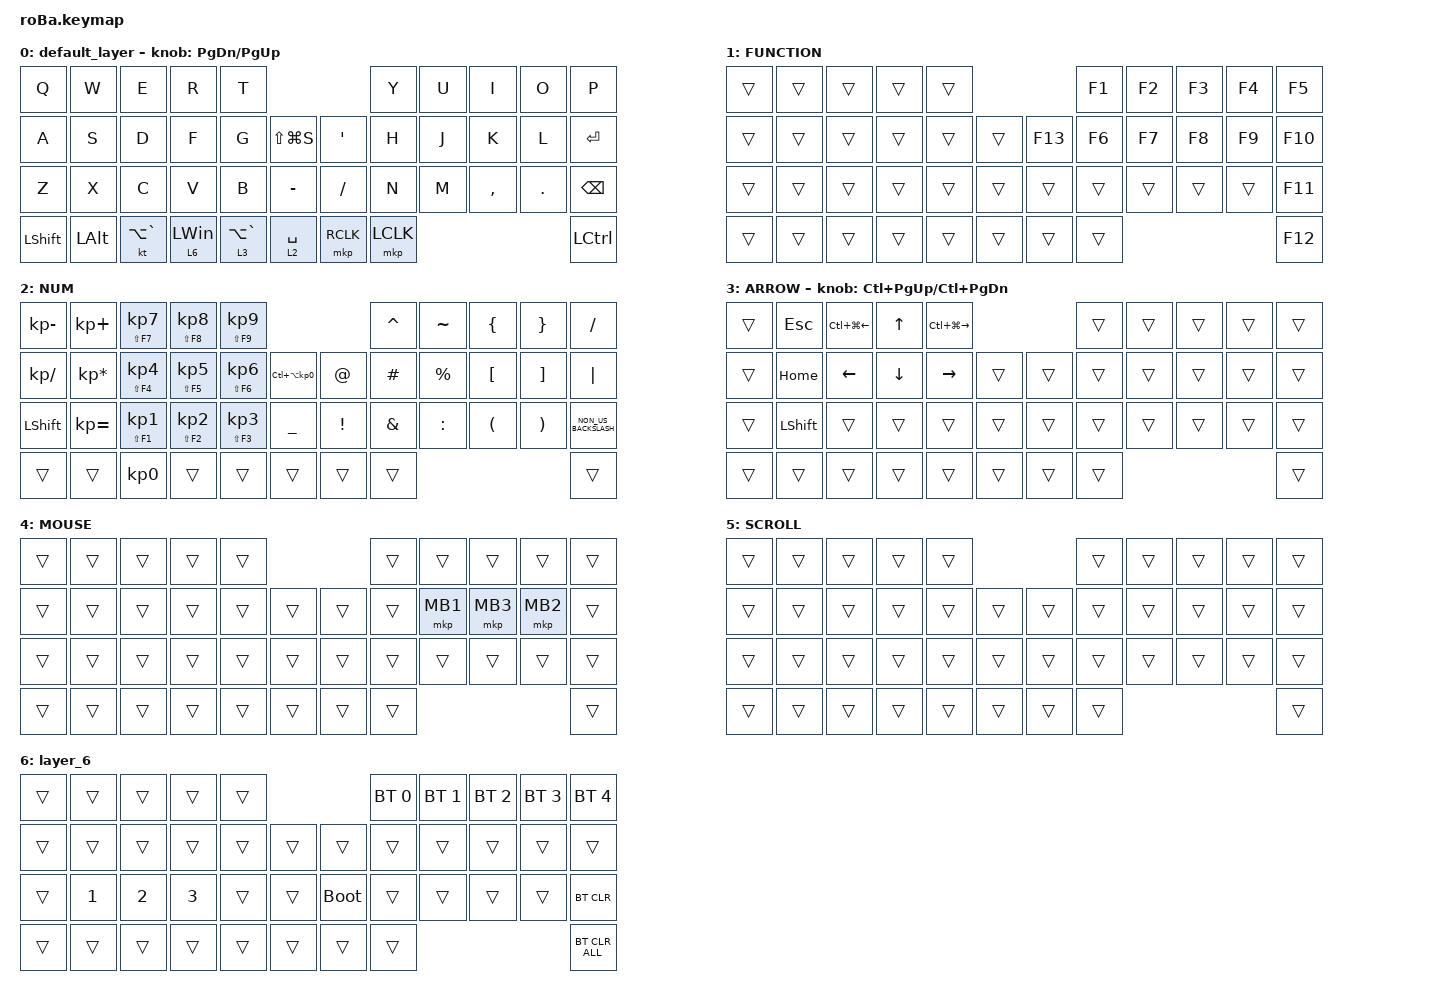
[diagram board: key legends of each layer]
#include <behaviors.dtsi>
#include <dt-bindings/zmk/bt.h>
#include <dt-bindings/zmk/keys.h>
#include <dt-bindings/zmk/pointing.h>

&mt {
    flavor = "balanced";
    quick-tap-ms = <0>;
};

&trackball {
    automouse-layer = <4>;
    scroll-layers = <5>;

    // arrows {
    //     layers = <3>;
    //     bindings =
    //         <&kp RIGHT_ARROW>,
    //         <&kp LEFT_ARROW>,
    //         <&kp UP_ARROW>,
    //         <&kp DOWN_ARROW>;
    //     tick = <10>;
    //     wait-ms = <5>;
    //     tap-ms = <5>;
    // };
};

/ {
    combos {
        compatible = "zmk,combos";

        tab {
            bindings = <&kp TAB>;
            key-positions = <11 12>;
        };

        shift_tab {
            bindings = <&kp LS(TAB)>;
            key-positions = <12 13>;
        };

        muhennkann {
            bindings = <&to_layer_0 INT_MUHENKAN>;
            key-positions = <11 10>;
        };

        double_quotation {
            bindings = <&kp DOUBLE_QUOTES>;
            key-positions = <20 21>;
        };

        eq {
            bindings = <&kp EQUAL>;
            key-positions = <24 25>;
        };
    };

    macros {
        to_layer_0: to_layer_0 {
            compatible = "zmk,behavior-macro-one-param";
            #binding-cells = <1>;
            bindings = <&to 0 &macro_param_1to1 &kp MACRO_PLACEHOLDER>;
            label = "TO_LAYER_0";
        };
    };

    behaviors {
        lt_to_layer_0: lt_to_layer_0 {
            compatible = "zmk,behavior-hold-tap";
            label = "LAYER_TAP_TO_0";
            bindings = <&mo>, <&to_layer_0>;

            #binding-cells = <2>;
            tapping-term-ms = <200>;
        };
    };

    keymap {
        compatible = "zmk,keymap";

        default_layer {
            bindings = <
&kp Q           &kp W         &kp E          &kp R           &kp T                                          &kp Y      &kp U  &kp I      &kp O    &kp P
&kp A           &kp S         &kp D          &kp F           &kp G            &kp LS(LG(S))      &kp SQT    &kp H      &kp J  &kp K      &kp L    &kp ENTER
&kp Z           &kp X         &kp C          &kp V           &kp B            &kp MINUS          &kp SLASH  &kp N      &kp M  &kp COMMA  &kp DOT  &kp BACKSPACE
&kp LEFT_SHIFT  &kp LEFT_ALT  &kt LA(GRAVE)  &lt 6 LEFT_WIN  &lt 3 LA(GRAVE)  &lt 2 SPACE        &mkp RCLK  &mkp LCLK                             &kp LEFT_CONTROL
            >;

            sensor-bindings = <&inc_dec_kp PAGE_DOWN PAGE_UP>;
        };

        FUNCTION {
            bindings = <
&trans  &trans  &trans  &trans  &trans                       &kp F1  &kp F2  &kp F3  &kp F4  &kp F5
&trans  &trans  &trans  &trans  &trans  &trans      &kp F13  &kp F6  &kp F7  &kp F8  &kp F9  &kp F10
&trans  &trans  &trans  &trans  &trans  &trans      &trans   &trans  &trans  &trans  &trans  &kp F11
&trans  &trans  &trans  &trans  &trans  &trans      &trans   &trans                          &kp F12
            >;
        };

        NUM {
            bindings = <
&kp KP_MINUS    &kp KP_PLUS      &mt LS(F7) KP_NUMBER_7  &mt LS(F8) KP_NUMBER_8  &mt LS(F9) KP_NUMBER_9                                                &kp CARET      &kp TILDE    &kp LEFT_BRACE        &kp RIGHT_BRACE        &kp SLASH
&kp KP_SLASH    &kp KP_ASTERISK  &mt LS(F4) KP_NUMBER_4  &mt LS(F5) KP_NUMBER_5  &mt LS(F6) KP_NUMBER_6  &kp LC(LA(KP_NUMBER_0))      &kp AT_SIGN      &kp HASH       &kp PERCENT  &kp LEFT_BRACKET      &kp RIGHT_BRACKET      &kp PIPE
&kp LEFT_SHIFT  &kp KP_EQUAL     &mt LS(F1) KP_NUMBER_1  &mt LS(F2) KP_NUMBER_2  &mt LS(F3) KP_NUMBER_3  &kp UNDERSCORE               &kp EXCLAMATION  &kp AMPERSAND  &kp COLON    &kp LEFT_PARENTHESIS  &kp RIGHT_PARENTHESIS  &kp NON_US_BACKSLASH
&trans          &trans           &kp KP_NUMBER_0         &trans                  &trans                  &trans                       &trans           &trans                                                                   &trans
            >;
        };

        ARROW {
            bindings = <
&trans  &kp ESC         &kp LC(LG(LEFT))  &kp UP_ARROW  &kp LC(LG(RIGHT))                      &trans  &trans  &trans  &trans  &trans
&trans  &kp HOME        &kp LEFT          &kp DOWN      &kp RIGHT          &trans      &trans  &trans  &trans  &trans  &trans  &trans
&trans  &kp LEFT_SHIFT  &trans            &trans        &trans             &trans      &trans  &trans  &trans  &trans  &trans  &trans
&trans  &trans          &trans            &trans        &trans             &trans      &trans  &trans                          &trans
            >;

            sensor-bindings = <&inc_dec_kp LC(PAGE_UP) LC(PAGE_DOWN)>;
        };

        MOUSE {
            bindings = <
&trans  &trans  &trans  &trans  &trans                      &trans  &trans    &trans    &trans    &trans
&trans  &trans  &trans  &trans  &trans  &trans      &trans  &trans  &mkp MB1  &mkp MB3  &mkp MB2  &trans
&trans  &trans  &trans  &trans  &trans  &trans      &trans  &trans  &trans    &trans    &trans    &trans
&trans  &trans  &trans  &trans  &trans  &trans      &trans  &trans                                &trans
            >;
        };

        SCROLL {
            bindings = <
&trans  &trans  &trans  &trans  &trans                      &trans  &trans  &trans  &trans  &trans
&trans  &trans  &trans  &trans  &trans  &trans      &trans  &trans  &trans  &trans  &trans  &trans
&trans  &trans  &trans  &trans  &trans  &trans      &trans  &trans  &trans  &trans  &trans  &trans
&trans  &trans  &trans  &trans  &trans  &trans      &trans  &trans                          &trans
            >;
        };

        layer_6 {
            bindings = <
&trans  &trans        &trans        &trans        &trans                           &bt BT_SEL 0  &bt BT_SEL 1  &bt BT_SEL 2  &bt BT_SEL 3  &bt BT_SEL 4
&trans  &trans        &trans        &trans        &trans  &trans      &trans       &trans        &trans        &trans        &trans        &trans
&trans  &kp NUMBER_1  &kp NUMBER_2  &kp NUMBER_3  &trans  &trans      &bootloader  &trans        &trans        &trans        &trans        &bt BT_CLR
&trans  &trans        &trans        &trans        &trans  &trans      &trans       &trans                                                  &bt BT_CLR_ALL
            >;
        };
    };
};
